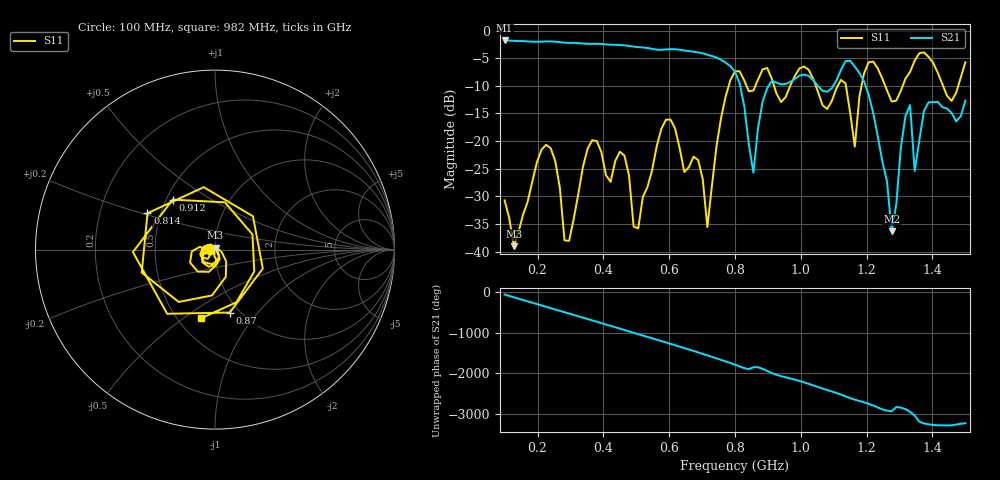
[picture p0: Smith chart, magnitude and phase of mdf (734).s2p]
! NanoVNA-App
! Date: 2025-09-25 15:44:08
! Start: 100MHz Stop: 1,5GHz Points: 101
! S-Parameter data: F S11 S21 S12 S22
# Hz S RI R 50
!  Frequency  S11_Real  S11_Imag  S21_Real  S21_Imag  S12_Real  S12_Imag  S22_Real  S22_Imag
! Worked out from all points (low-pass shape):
!   101 points, 100 MHz to 1.5 GHz, reference 50 ohm
!   highest |S21| = -1.80 dB at 100 MHz (marker M1); lowest = -36.4 dB at 1.276 GHz (marker M2)
!   |S21| within 3 dB of the highest: start of sweep to 739.2 MHz
!   lowest |S11| = -39.0 dB at 128 MHz (marker M3), VSWR 1.02, Z = 50.3 + j1.07 ohm
!   |S11| at or under -10 dB: start of sweep to 781.1 MHz; 1.045 GHz to 1.112 GHz (67.12 MHz wide, 6.22 % of centre); 1.256 GHz to 1.31 GHz (53.5 MHz wide, 4.17 % of centre) (the widest 3 of 7)
!   S12 and S22 are empty: the file has one direction only
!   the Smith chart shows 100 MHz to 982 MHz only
!   S11 on the Smith chart (normalised r, x): 100 MHz: 0.94, -0.01; 814 MHz: 0.42, +0.21; 870 MHz: 0.90, -0.73; 912 MHz: 0.54, +0.35; 982 MHz: 0.65, -0.59
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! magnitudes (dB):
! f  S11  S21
! 100 MHz  -30.7  -1.8
! 128 MHz  -39.0  -1.9
! 212 MHz  -21.6  -2.0
! 282 MHz  -38.0  -2.2
! 338 MHz  -24.7  -2.4
! 464 MHz  -22.6  -2.7
! 506 MHz  -35.8  -3.0
! 576 MHz  -17.8  -3.5
! 716 MHz  -35.6  -4.4
! 800 MHz  -7.4  -7.4
! 814 MHz  -7.4  -9.5
! 856 MHz  -10.9  -25.7
! 870 MHz  -8.9  -17.7
! 912 MHz  -8.8  -9.1
! 982 MHz  -8.2  -8.8
! 1.038 GHz  -8.8  -9.0
! 1.164 GHz  -21.0  -6.5
! 1.192 GHz  -7.8  -9.2
! 1.276 GHz  -12.9  -36.4
! 1.332 GHz  -7.5  -13.5
! 1.346 GHz  -5.4  -25.4
! 1.5 GHz  -5.7  -12.7
